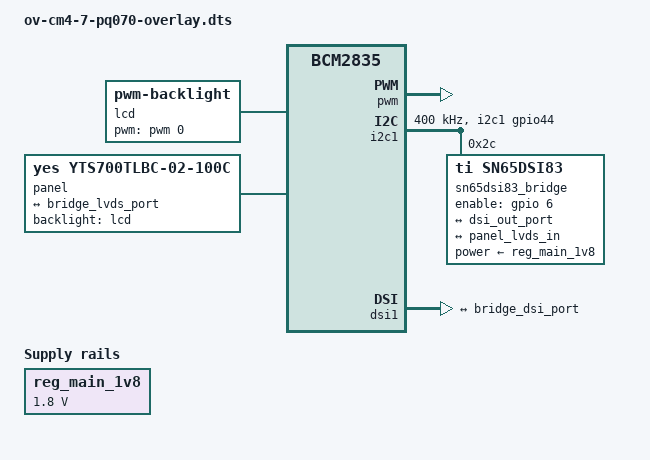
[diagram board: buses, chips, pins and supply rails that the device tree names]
/dts-v1/;
/plugin/;

/ {
    compatible = "brcm,bcm2835";
    
    /* PWM0 function */
    fragment@0 {
        target = <&gpio>;
        __overlay__ {
            pwm_pins: pwm_pins {
                brcm,pins = <12>;
                brcm,function = <4>;
            };
        };

    };
    
    fragment@1 {
        target = <&pwm>;
        __overlay__ {
            pinctrl-names = "default";
            pinctrl-0 = <&pwm_pins>;
            assigned-clock-rates = <1000000>;
            status = "okay";
        };
    };
    
    fragment@2 {
        target-path = "/";
        __overlay__ {
            reg_main_1v8: regulator-main-1v8 {
                compatible = "regulator-fixed";
                regulator-name = "1V8";
                regulator-min-microvolt = <1800000>;
                regulator-max-microvolt = <1800000>;
                regulator-always-on;
            };
        
            lcd: lcd {
                compatible = "pwm-backlight";
                brightness-levels = <0 6 8 12 16 24 32 40 48 64 96 128 160 192 224 255>;
                default-brightness-level = <15>;
                pwms = <&pwm 0 200000 0>;
            };

            
            panel: panel {
                compatible = "yes,yts700tlbc-02-100c", "panel-lvds";

                backlight = <&lcd>;
                power-supply = <0>;

                /* Physical dimensions of active area */
                width-mm = <154>;
                height-mm = <90>;

                data-mapping = "jeida-18";

                panel-timing {
                    clock-frequency = <39000000>; /* pixel clock is 3GHz / 60 */
                    hactive = <1024>;
                    vactive = <600>;
                    hsync-len = <1>;
                    hfront-porch = <4>;
                    hback-porch = <175>;
                    vfront-porch = <2>;
                    vback-porch = <24>;
                    vsync-len = <1>;
                    /*hsync-active = <1>; 
                    vsync-active = <1>;
                    de-active = <1>; */
                };

                port {
                    panel_lvds_in: endpoint {
                        remote-endpoint = <&bridge_lvds_port>;
                    };
                };
            };
        };
    };

    fragment@3 {
        target = <&i2c1>;
        __overlay__ {
            #address-cells = <1>;
            #size-cells = <0>;

            sn65dsi83_bridge: bridge@2c {
                compatible = "ti,sn65dsi83";
                reg = <0x2c>;
                status = "okay";
                enable-gpios = <&gpio 6 0>;
                power-supply = <&reg_main_1v8>;

                ports {                
                    #address-cells = <1>;
                    #size-cells = <0>;
                    port@0 {
                        reg = <0>;
                        bridge_dsi_port: endpoint {
                            data-lanes = <0 1>;
                            remote-endpoint = <&dsi_out_port>;
                        };
                    };

                    port@2{
                        reg = <2>;
                        bridge_lvds_port: endpoint {
                            remote-endpoint = <&panel_lvds_in>;
                        };
                    };
                };
            };
        };
    };

    fragment@4 {
        target = <&dsi1>;
        __overlay__ {
            #address-cells = <1>;
            #size-cells = <0>;
            status = "okay";
            port {
                dsi_out_port: endpoint {
                    remote-endpoint = <&bridge_dsi_port>;
                    data-lanes = <0 1>;
                };
            };
        };
    };

    /* Enable I2C1 */
    fragment@5 {
        target = <&i2c1>;
        __overlay__ {
            status = "okay";
            pinctrl-0 = <&i2c1_gpio44>;
            clock-frequency = <400000>;
        };
    };
};
